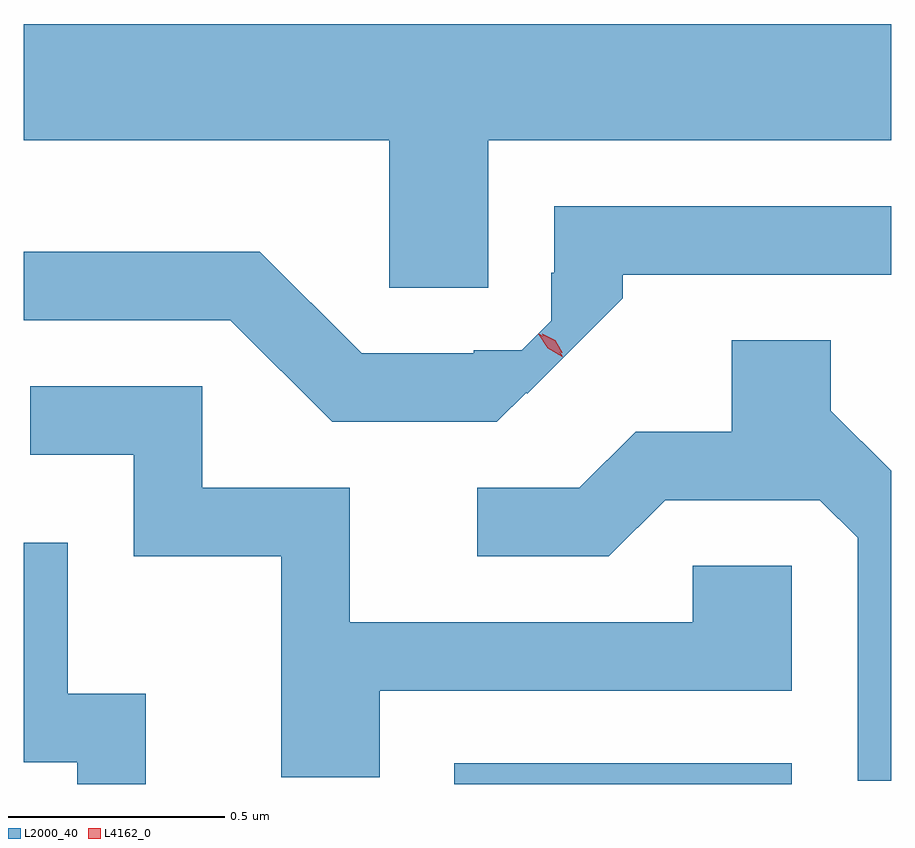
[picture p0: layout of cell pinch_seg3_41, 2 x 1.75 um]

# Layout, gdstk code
import gdstk
lib = gdstk.Library(unit=1e-6, precision=1e-09)
def R(c, l, rs):  # rectangles x0, y0, x1, y1
    for r in rs: c.add(gdstk.rectangle(r[:2], r[2:], *l))
def P(c, l, *ps):  # polygons
    for p in ps: c.add(gdstk.Polygon(p, *l))
L2000_40 = (2000, 40)
L4162_0 = (4162, 0)

pinch_seg3_41 = lib.new_cell('pinch_seg3_41')
R(pinch_seg3_41, L2000_40, [(1861.721,1219.991,1862.499,1220.039)])
P(pinch_seg3_41, L2000_40, [(1861.799,1221.476),(1862.728,1221.476),(1862.728,1221.744),(1860.728,1221.744),(1860.728,1221.476),(1861.571,1221.476),(1861.571,1221.136),(1861.799,1221.136)],
  [(1861.887,1220.894),(1861.889,1220.891),(1862.109,1221.111),(1862.109,1221.166),(1862.728,1221.166),(1862.728,1221.324),(1861.951,1221.324),(1861.951,1221.17),(1861.944,1221.17),(1861.944,1221.059),(1861.876,1220.991),(1861.765,1220.991),(1861.765,1220.984),(1861.507,1220.984),(1861.272,1221.219),(1860.728,1221.219),(1860.728,1221.061),(1861.204,1221.061),(1861.439,1220.826),(1861.819,1220.826)],
  [(1862.728,1220.713),(1862.589,1220.852),(1862.589,1221.014),(1862.361,1221.014),(1862.361,1220.804),(1862.139,1220.804),(1862.009,1220.674),(1861.773,1220.674),(1861.773,1220.516),(1862.077,1220.516),(1862.207,1220.646),(1862.564,1220.646),(1862.651,1220.559),(1862.651,1219.998),(1862.728,1219.998)],
  [(1861.549,1220.206),(1862.499,1220.206),(1862.499,1220.494),(1862.271,1220.494),(1862.271,1220.364),(1861.479,1220.364),(1861.479,1220.674),(1861.139,1220.674),(1861.139,1220.909),(1860.743,1220.909),(1860.743,1220.751),(1860.981,1220.751),(1860.981,1220.516),(1861.321,1220.516),(1861.321,1220.006),(1861.549,1220.006)],
  [(1861.009,1220.199),(1860.829,1220.199),(1860.829,1220.548),(1860.728,1220.548),(1860.728,1220.041),(1860.851,1220.041),(1860.851,1219.991),(1861.009,1219.991)])
P(pinch_seg3_41, L4162_0, [(1861.97,1220.976),(1861.936,1220.996),(1861.914,1221.03),(1861.914,1221.03),(1861.915,1221.03),(1861.95,1221.01),(1861.971,1220.977),(1861.971,1220.976)],
  [(1861.969,1220.986),(1861.94,1221),(1861.923,1221.028),(1861.923,1221.029),(1861.924,1221.029),(1861.953,1221.015),(1861.97,1220.987),(1861.97,1220.986)])

lib.write_gds('pinch_seg3_41.gds')
